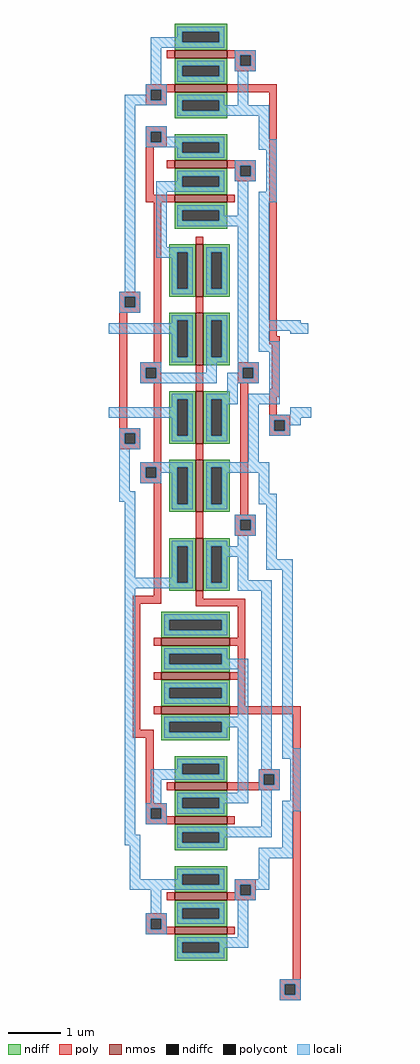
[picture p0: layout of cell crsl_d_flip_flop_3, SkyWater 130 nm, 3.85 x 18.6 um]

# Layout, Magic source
magic
tech sky130A
<< nmos >>
rect 210 325 310 340
rect 210 260 310 275
rect 210 115 310 130
rect 210 50 310 65
rect 250 -130 265 -30
rect 250 -260 265 -160
rect 250 -410 265 -310
rect 250 -540 265 -440
rect 250 -690 265 -590
rect 185 -795 315 -780
rect 185 -860 315 -845
rect 185 -925 315 -910
rect 210 -1070 310 -1055
rect 210 -1135 310 -1120
rect 210 -1280 310 -1265
rect 210 -1345 310 -1330
<< ndiff >>
rect 210 375 310 390
rect 210 355 225 375
rect 295 355 310 375
rect 210 340 310 355
rect 210 310 310 325
rect 210 290 225 310
rect 295 290 310 310
rect 210 275 310 290
rect 210 245 310 260
rect 210 225 225 245
rect 295 225 310 245
rect 210 210 310 225
rect 210 165 310 180
rect 210 145 225 165
rect 295 145 310 165
rect 210 130 310 145
rect 210 100 310 115
rect 210 80 225 100
rect 295 80 310 100
rect 210 65 310 80
rect 210 35 310 50
rect 210 15 225 35
rect 295 15 310 35
rect 210 0 310 15
rect 200 -45 250 -30
rect 200 -115 215 -45
rect 235 -115 250 -45
rect 200 -130 250 -115
rect 265 -45 315 -30
rect 265 -115 280 -45
rect 300 -115 315 -45
rect 265 -130 315 -115
rect 200 -175 250 -160
rect 200 -245 215 -175
rect 235 -245 250 -175
rect 200 -260 250 -245
rect 265 -175 315 -160
rect 265 -245 280 -175
rect 300 -245 315 -175
rect 265 -260 315 -245
rect 200 -325 250 -310
rect 200 -395 215 -325
rect 235 -395 250 -325
rect 200 -410 250 -395
rect 265 -325 315 -310
rect 265 -395 280 -325
rect 300 -395 315 -325
rect 265 -410 315 -395
rect 200 -455 250 -440
rect 200 -525 215 -455
rect 235 -525 250 -455
rect 200 -540 250 -525
rect 265 -455 315 -440
rect 265 -525 280 -455
rect 300 -525 315 -455
rect 265 -540 315 -525
rect 200 -605 250 -590
rect 200 -675 215 -605
rect 235 -675 250 -605
rect 200 -690 250 -675
rect 265 -605 315 -590
rect 265 -675 280 -605
rect 300 -675 315 -605
rect 265 -690 315 -675
rect 185 -745 315 -730
rect 185 -765 200 -745
rect 300 -765 315 -745
rect 185 -780 315 -765
rect 185 -810 315 -795
rect 185 -830 200 -810
rect 300 -830 315 -810
rect 185 -845 315 -830
rect 185 -875 315 -860
rect 185 -895 200 -875
rect 300 -895 315 -875
rect 185 -910 315 -895
rect 185 -940 315 -925
rect 185 -960 200 -940
rect 300 -960 315 -940
rect 185 -975 315 -960
rect 210 -1020 310 -1005
rect 210 -1040 225 -1020
rect 295 -1040 310 -1020
rect 210 -1055 310 -1040
rect 210 -1085 310 -1070
rect 210 -1105 225 -1085
rect 295 -1105 310 -1085
rect 210 -1120 310 -1105
rect 210 -1150 310 -1135
rect 210 -1170 225 -1150
rect 295 -1170 310 -1150
rect 210 -1185 310 -1170
rect 210 -1230 310 -1215
rect 210 -1250 225 -1230
rect 295 -1250 310 -1230
rect 210 -1265 310 -1250
rect 210 -1295 310 -1280
rect 210 -1315 225 -1295
rect 295 -1315 310 -1295
rect 210 -1330 310 -1315
rect 210 -1360 310 -1345
rect 210 -1380 225 -1360
rect 295 -1380 310 -1360
rect 210 -1395 310 -1380
<< ndiffc >>
rect 225 355 295 375
rect 225 290 295 310
rect 225 225 295 245
rect 225 145 295 165
rect 225 80 295 100
rect 225 15 295 35
rect 215 -115 235 -45
rect 280 -115 300 -45
rect 215 -245 235 -175
rect 280 -245 300 -175
rect 215 -395 235 -325
rect 280 -395 300 -325
rect 215 -525 235 -455
rect 280 -525 300 -455
rect 215 -675 235 -605
rect 280 -675 300 -605
rect 200 -765 300 -745
rect 200 -830 300 -810
rect 200 -895 300 -875
rect 200 -960 300 -940
rect 225 -1040 295 -1020
rect 225 -1105 295 -1085
rect 225 -1170 295 -1150
rect 225 -1250 295 -1230
rect 225 -1315 295 -1295
rect 225 -1380 295 -1360
<< poly >>
rect 195 325 210 340
rect 310 330 365 340
rect 310 325 335 330
rect 325 310 335 325
rect 355 310 365 330
rect 325 300 365 310
rect 155 265 210 275
rect 155 245 165 265
rect 185 260 210 265
rect 310 260 405 275
rect 185 245 195 260
rect 155 235 195 245
rect 155 185 195 195
rect 155 165 165 185
rect 185 165 195 185
rect 155 155 195 165
rect 155 65 170 155
rect 195 115 210 130
rect 310 120 365 130
rect 310 115 335 120
rect 325 100 335 115
rect 355 100 365 120
rect 325 90 365 100
rect 155 50 210 65
rect 310 50 325 65
rect 105 -130 145 -120
rect 105 -150 115 -130
rect 135 -150 145 -130
rect 105 -160 145 -150
rect 105 -380 120 -160
rect 170 -255 185 50
rect 250 -30 265 -15
rect 250 -160 265 -130
rect 145 -265 185 -255
rect 390 -205 405 260
rect 390 -220 410 -205
rect 145 -285 155 -265
rect 175 -285 185 -265
rect 145 -295 185 -285
rect 105 -390 145 -380
rect 105 -410 115 -390
rect 135 -410 145 -390
rect 105 -420 145 -410
rect 170 -445 185 -295
rect 250 -310 265 -260
rect 330 -265 370 -255
rect 330 -285 340 -265
rect 360 -285 370 -265
rect 330 -295 370 -285
rect 250 -440 265 -410
rect 145 -455 185 -445
rect 145 -475 155 -455
rect 175 -475 185 -455
rect 145 -485 185 -475
rect 170 -700 185 -485
rect 250 -590 265 -540
rect 335 -545 350 -295
rect 395 -305 410 -220
rect 390 -320 410 -305
rect 390 -355 405 -320
rect 390 -365 430 -355
rect 390 -385 400 -365
rect 420 -385 430 -365
rect 390 -395 430 -385
rect 325 -555 365 -545
rect 325 -575 335 -555
rect 355 -575 365 -555
rect 325 -585 365 -575
rect 130 -715 185 -700
rect 250 -705 265 -690
rect 130 -955 145 -715
rect 250 -720 345 -705
rect 330 -780 345 -720
rect 170 -795 185 -780
rect 315 -795 345 -780
rect 330 -845 345 -795
rect 170 -860 185 -845
rect 315 -860 345 -845
rect 330 -910 345 -860
rect 170 -925 185 -910
rect 315 -925 450 -910
rect 130 -970 170 -955
rect 155 -1095 170 -970
rect 370 -1040 410 -1030
rect 370 -1055 380 -1040
rect 195 -1070 210 -1055
rect 310 -1060 380 -1055
rect 400 -1060 410 -1040
rect 310 -1070 410 -1060
rect 155 -1105 195 -1095
rect 155 -1125 165 -1105
rect 185 -1120 195 -1105
rect 185 -1125 210 -1120
rect 155 -1135 210 -1125
rect 310 -1135 325 -1120
rect 325 -1250 365 -1240
rect 325 -1265 335 -1250
rect 195 -1280 210 -1265
rect 310 -1270 335 -1265
rect 355 -1270 365 -1250
rect 310 -1280 365 -1270
rect 155 -1315 195 -1305
rect 155 -1335 165 -1315
rect 185 -1330 195 -1315
rect 185 -1335 210 -1330
rect 155 -1345 210 -1335
rect 310 -1345 325 -1330
rect 435 -1430 450 -925
rect 410 -1440 450 -1430
rect 410 -1460 420 -1440
rect 440 -1460 450 -1440
rect 410 -1470 450 -1460
<< polycont >>
rect 335 310 355 330
rect 165 245 185 265
rect 165 165 185 185
rect 335 100 355 120
rect 115 -150 135 -130
rect 155 -285 175 -265
rect 115 -410 135 -390
rect 340 -285 360 -265
rect 155 -475 175 -455
rect 400 -385 420 -365
rect 335 -575 355 -555
rect 380 -1060 400 -1040
rect 165 -1125 185 -1105
rect 335 -1270 355 -1250
rect 165 -1335 185 -1315
rect 420 -1460 440 -1440
<< locali >>
rect 215 375 305 385
rect 215 365 225 375
rect 165 355 225 365
rect 295 355 305 375
rect 165 345 305 355
rect 165 275 185 345
rect 325 330 365 340
rect 215 310 305 320
rect 215 290 225 310
rect 295 290 305 310
rect 325 310 335 330
rect 355 310 365 330
rect 325 300 365 310
rect 215 280 305 290
rect 155 265 195 275
rect 155 255 165 265
rect 115 245 165 255
rect 185 245 195 265
rect 115 235 195 245
rect 215 245 305 255
rect 115 -120 135 235
rect 215 225 225 245
rect 295 235 305 245
rect 330 235 350 300
rect 295 225 390 235
rect 215 215 390 225
rect 155 185 195 195
rect 155 165 165 185
rect 185 175 195 185
rect 185 165 305 175
rect 155 155 225 165
rect 215 145 225 155
rect 295 145 305 165
rect 370 170 390 215
rect 370 150 405 170
rect 215 135 305 145
rect 325 120 365 130
rect 215 100 305 110
rect 215 90 225 100
rect 175 80 225 90
rect 295 80 305 100
rect 325 100 335 120
rect 355 100 365 120
rect 325 90 365 100
rect 175 70 305 80
rect 175 -35 195 70
rect 215 35 305 45
rect 215 15 225 35
rect 295 25 305 35
rect 330 25 350 90
rect 385 70 405 150
rect 295 15 350 25
rect 215 5 350 15
rect 175 -45 245 -35
rect 175 -55 215 -45
rect 205 -115 215 -55
rect 235 -115 245 -45
rect 105 -130 145 -120
rect 205 -125 245 -115
rect 270 -45 310 -35
rect 270 -115 280 -45
rect 300 -115 310 -45
rect 270 -125 310 -115
rect 105 -150 115 -130
rect 135 -150 145 -130
rect 105 -160 145 -150
rect 205 -175 245 -165
rect 205 -180 215 -175
rect 85 -200 215 -180
rect 205 -245 215 -200
rect 235 -245 245 -175
rect 205 -255 245 -245
rect 270 -175 310 -165
rect 270 -245 280 -175
rect 300 -245 310 -175
rect 270 -255 310 -245
rect 330 -255 350 5
rect 370 50 405 70
rect 370 -175 390 50
rect 370 -180 450 -175
rect 370 -195 465 -180
rect 370 -215 390 -195
rect 430 -200 465 -195
rect 370 -235 410 -215
rect 145 -265 185 -255
rect 145 -285 155 -265
rect 175 -275 185 -265
rect 270 -275 290 -255
rect 330 -265 370 -255
rect 330 -275 340 -265
rect 175 -285 290 -275
rect 145 -295 290 -285
rect 310 -285 340 -275
rect 360 -285 370 -265
rect 310 -295 370 -285
rect 310 -315 330 -295
rect 390 -315 410 -235
rect 205 -325 245 -315
rect 205 -340 215 -325
rect 85 -360 215 -340
rect 105 -390 145 -380
rect 105 -410 115 -390
rect 135 -410 145 -390
rect 205 -395 215 -360
rect 235 -395 245 -325
rect 205 -405 245 -395
rect 270 -325 330 -315
rect 270 -395 280 -325
rect 300 -335 330 -325
rect 350 -335 410 -315
rect 300 -395 310 -335
rect 270 -405 310 -395
rect 105 -420 145 -410
rect 105 -500 125 -420
rect 350 -445 370 -335
rect 430 -355 470 -340
rect 390 -360 470 -355
rect 390 -365 450 -360
rect 390 -385 400 -365
rect 420 -375 450 -365
rect 420 -385 430 -375
rect 390 -395 430 -385
rect 145 -455 245 -445
rect 145 -475 155 -455
rect 175 -465 215 -455
rect 175 -475 185 -465
rect 145 -485 185 -475
rect 105 -520 135 -500
rect 115 -665 135 -520
rect 205 -525 215 -465
rect 235 -525 245 -455
rect 205 -535 245 -525
rect 270 -455 390 -445
rect 270 -525 280 -455
rect 300 -465 390 -455
rect 300 -525 310 -465
rect 370 -505 390 -465
rect 370 -525 405 -505
rect 270 -535 310 -525
rect 325 -555 365 -545
rect 325 -575 335 -555
rect 355 -575 365 -555
rect 325 -585 365 -575
rect 205 -605 245 -595
rect 205 -665 215 -605
rect 115 -675 215 -665
rect 235 -675 245 -605
rect 115 -685 245 -675
rect 270 -605 310 -595
rect 330 -605 350 -585
rect 270 -675 280 -605
rect 300 -625 350 -605
rect 300 -675 310 -625
rect 270 -685 310 -675
rect 330 -670 350 -625
rect 385 -630 405 -525
rect 385 -650 435 -630
rect 115 -1155 135 -685
rect 330 -690 395 -670
rect 190 -745 310 -735
rect 190 -765 200 -745
rect 300 -765 310 -745
rect 190 -775 310 -765
rect 190 -810 310 -800
rect 190 -830 200 -810
rect 300 -820 310 -810
rect 300 -830 350 -820
rect 190 -840 350 -830
rect 190 -875 310 -865
rect 190 -895 200 -875
rect 300 -895 310 -875
rect 190 -905 310 -895
rect 330 -930 350 -840
rect 190 -940 350 -930
rect 190 -960 200 -940
rect 300 -950 350 -940
rect 300 -960 310 -950
rect 190 -970 310 -960
rect 215 -1020 305 -1010
rect 215 -1030 225 -1020
rect 165 -1040 225 -1030
rect 295 -1040 305 -1020
rect 165 -1050 305 -1040
rect 165 -1095 185 -1050
rect 330 -1075 350 -950
rect 375 -1030 395 -690
rect 415 -990 435 -650
rect 415 -1010 450 -990
rect 370 -1040 410 -1030
rect 370 -1060 380 -1040
rect 400 -1060 410 -1040
rect 370 -1070 410 -1060
rect 215 -1085 350 -1075
rect 155 -1105 195 -1095
rect 155 -1125 165 -1105
rect 185 -1125 195 -1105
rect 215 -1105 225 -1085
rect 295 -1095 350 -1085
rect 295 -1105 305 -1095
rect 215 -1115 305 -1105
rect 155 -1135 195 -1125
rect 375 -1140 395 -1070
rect 430 -1090 450 -1010
rect 215 -1150 395 -1140
rect 115 -1175 145 -1155
rect 125 -1240 145 -1175
rect 215 -1170 225 -1150
rect 295 -1160 395 -1150
rect 415 -1110 450 -1090
rect 295 -1170 305 -1160
rect 215 -1180 305 -1170
rect 415 -1180 435 -1110
rect 370 -1200 435 -1180
rect 215 -1230 305 -1220
rect 215 -1240 225 -1230
rect 125 -1250 225 -1240
rect 295 -1250 305 -1230
rect 370 -1240 390 -1200
rect 125 -1260 305 -1250
rect 325 -1250 390 -1240
rect 165 -1305 185 -1260
rect 325 -1270 335 -1250
rect 355 -1260 390 -1250
rect 355 -1270 365 -1260
rect 325 -1280 365 -1270
rect 215 -1295 305 -1285
rect 155 -1315 195 -1305
rect 155 -1335 165 -1315
rect 185 -1335 195 -1315
rect 215 -1315 225 -1295
rect 295 -1315 305 -1295
rect 215 -1325 305 -1315
rect 155 -1345 195 -1335
rect 330 -1350 350 -1280
rect 215 -1360 350 -1350
rect 215 -1380 225 -1360
rect 295 -1370 350 -1360
rect 295 -1380 305 -1370
rect 215 -1390 305 -1380
rect 410 -1440 450 -1430
rect 410 -1460 420 -1440
rect 440 -1460 450 -1440
rect 410 -1470 450 -1460
<< end >>
